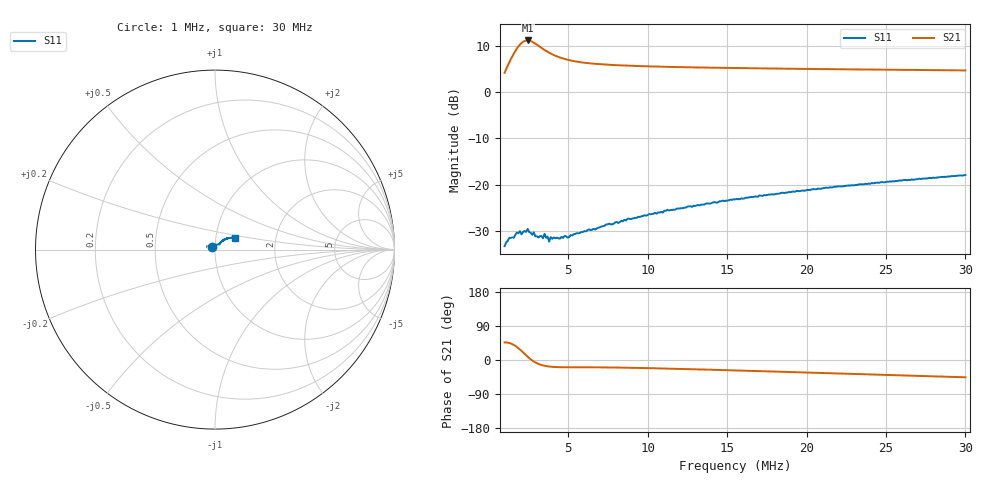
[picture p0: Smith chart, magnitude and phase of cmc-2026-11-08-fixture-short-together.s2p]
!File created by NanoVNA-F V2
# Hz S RI R 50
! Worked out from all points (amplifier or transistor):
!   301 points, 1 MHz to 30 MHz, reference 50 ohm
!   highest |S21| = 11.1 dB at 2.45 MHz (marker M1)
!   |S21| within 3 dB of that: 1.554 MHz to 4 MHz (2.446 MHz wide, 88.1 % of centre)
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1000000  -0.0165 0.014  1.111 1.166  0 0  0 0
1386664  -0.0222 0.0145  1.627 1.55  0 0  0 0
1579996  -0.0227 0.0141  1.996 1.658  0 0  0 0
1773328  -0.027 0.0136  2.432 1.658  0 0  0 0
1869994  -0.0251 0.0162  2.653 1.608  0 0  0 0
2063326  -0.0245 0.0156  3.082 1.373  0 0  0 0
2256658  -0.0261 0.0176  3.406 0.9923  0 0  0 0
2449990  -0.0279 0.0179  3.558 0.5352  0 0  0 0
2643322  -0.0247 0.0172  3.535 0.1057  0 0  0 0
2933320  -0.0226 0.0158  3.307 -0.3758  0 0  0 0
3126652  -0.022 0.0153  3.102 -0.5663  0 0  0 0
3416650  -0.0223 0.014  2.821 -0.7199  0 0  0 0
3513316  -0.0246 0.0159  2.739 -0.7472  0 0  0 0
3803314  -0.0205 0.0129  2.535 -0.7865  0 0  0 0
3899980  -0.0233 0.0137  2.475 -0.7888  0 0  0 0
4383310  -0.0219 0.0148  2.26 -0.7725  0 0  0 0
5833300  -0.0248 0.018  1.973 -0.6883  0 0  0 0
1.06666e7  0.031 0.0393  1.738 -0.7068  0 0  0 0
1.54999e7  0.0454 0.0521  1.609 -0.8375  0 0  0 0
2.03332e7  0.0642 0.061  1.475 -0.9755  0 0  0 0
2.51665e7  0.0849 0.0658  1.338 -1.106  0 0  0 0
2.99998e7  0.1089 0.0644  1.194 -1.221  0 0  0 0
